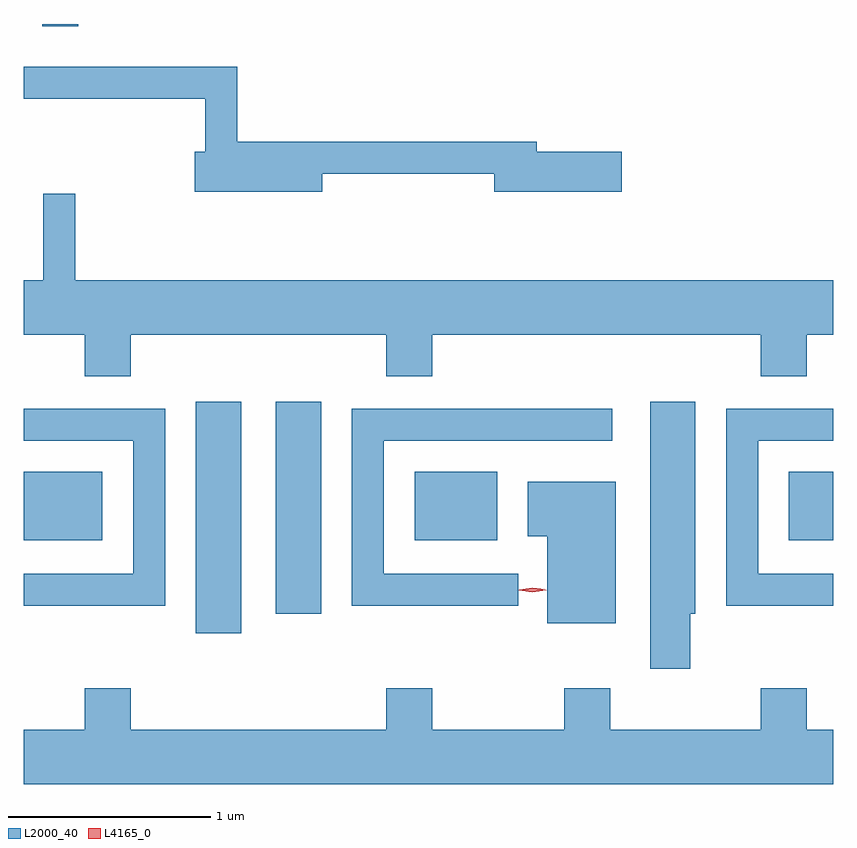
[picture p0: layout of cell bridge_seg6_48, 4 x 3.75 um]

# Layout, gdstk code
import gdstk
lib = gdstk.Library(unit=1e-6, precision=1e-09)
def R(c, l, rs):  # rectangles x0, y0, x1, y1
    for r in rs: c.add(gdstk.rectangle(r[:2], r[2:], *l))
def P(c, l, *ps):  # polygons
    for p in ps: c.add(gdstk.Polygon(p, *l))
L2000_40 = (2000, 40)
L4165_0 = (4165, 0)

bridge_seg6_48 = lib.new_cell('bridge_seg6_48')
R(bridge_seg6_48, L2000_40, [(1506.201,1604.061,1506.424,1605.204), (1506.596,1604.156,1506.819,1605.204), (1505.35,1604.521,1505.739,1604.859), (1507.281,1604.521,1507.689,1604.859), (1509.131,1604.521,1509.35,1604.859), (1505.441,1607.061,1505.619,1607.071)])
P(bridge_seg6_48, L2000_40, [(1506.824,1606.331),(1507.676,1606.331),(1507.676,1606.241),(1508.304,1606.241),(1508.304,1606.439),(1507.884,1606.439),(1507.884,1606.489),(1506.404,1606.489),(1506.404,1606.859),(1505.35,1606.859),(1505.35,1606.701),(1506.246,1606.701),(1506.246,1606.439),(1506.196,1606.439),(1506.196,1606.241),(1506.824,1606.241)],
  [(1505.879,1605.536),(1507.141,1605.536),(1507.141,1605.331),(1507.369,1605.331),(1507.369,1605.536),(1508.991,1605.536),(1508.991,1605.331),(1509.219,1605.331),(1509.219,1605.536),(1509.35,1605.536),(1509.35,1605.804),(1505.604,1605.804),(1505.604,1606.233),(1505.446,1606.233),(1505.446,1605.804),(1505.35,1605.804),(1505.35,1605.536),(1505.651,1605.536),(1505.651,1605.331),(1505.879,1605.331)],
  [(1508.644,1604.156),(1508.669,1604.156),(1508.669,1605.204),(1508.446,1605.204),(1508.446,1603.886),(1508.644,1603.886)],
  [(1509.35,1604.354),(1508.979,1604.354),(1508.979,1605.011),(1509.35,1605.011),(1509.35,1605.169),(1508.821,1605.169),(1508.821,1604.196),(1509.35,1604.196)],
  [(1507.793,1604.354),(1507.129,1604.354),(1507.129,1605.011),(1508.258,1605.011),(1508.258,1605.169),(1506.971,1605.169),(1506.971,1604.196),(1507.793,1604.196)],
  [(1506.049,1605.169),(1505.35,1605.169),(1505.35,1605.011),(1505.891,1605.011),(1505.891,1604.354),(1505.35,1604.354),(1505.35,1604.196),(1506.049,1604.196)],
  [(1508.274,1604.809),(1507.841,1604.809),(1507.841,1604.541),(1507.936,1604.541),(1507.936,1604.111),(1508.274,1604.111)],
  [(1509.35,1603.584),(1509.219,1603.584),(1509.219,1603.789),(1508.991,1603.789),(1508.991,1603.584),(1508.249,1603.584),(1508.249,1603.789),(1508.021,1603.789),(1508.021,1603.584),(1507.369,1603.584),(1507.369,1603.789),(1507.141,1603.789),(1507.141,1603.584),(1505.879,1603.584),(1505.879,1603.789),(1505.651,1603.789),(1505.651,1603.584),(1505.35,1603.584),(1505.35,1603.316),(1509.35,1603.316)])
P(bridge_seg6_48, L4165_0, [(1507.863,1604.264),(1507.795,1604.273),(1507.794,1604.274),(1507.795,1604.274),(1507.863,1604.284),(1507.931,1604.274),(1507.932,1604.274),(1507.931,1604.273)],
  [(1507.862,1604.267),(1507.798,1604.275),(1507.798,1604.275),(1507.798,1604.276),(1507.862,1604.286),(1507.926,1604.278),(1507.926,1604.278),(1507.926,1604.277)])

lib.write_gds('bridge_seg6_48.gds')
